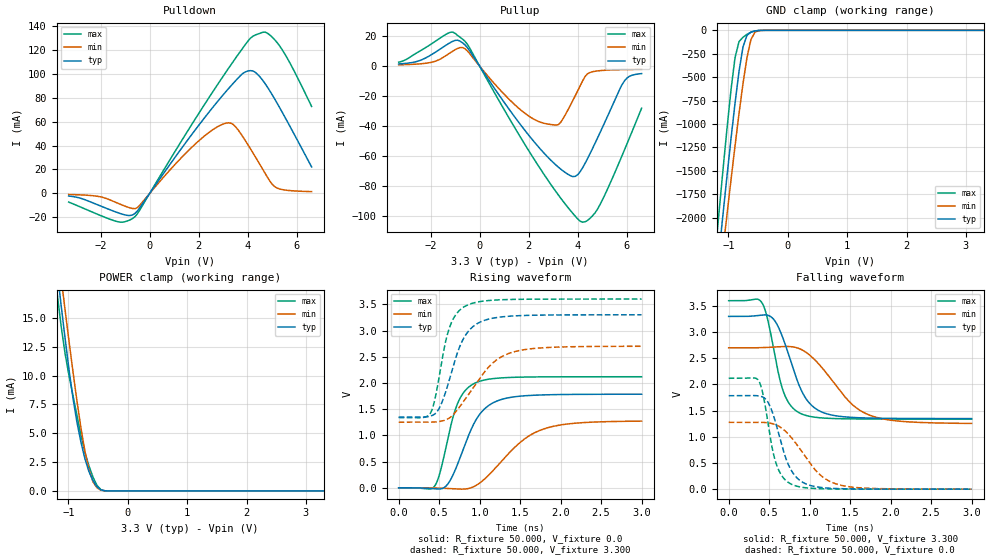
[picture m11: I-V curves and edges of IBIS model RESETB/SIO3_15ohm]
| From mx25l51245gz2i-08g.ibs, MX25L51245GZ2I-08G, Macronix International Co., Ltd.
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|   Model RESETB/SIO3_15ohm
[Model] RESETB/SIO3_15ohm
Model_type I/O
Vinl = 0.8
Vinh = 2.31
Vmeas = 1.65
Vref = 3.3
Cref = 30pF
Rref = 25000
Polarity   Non-Inverting
Enable   Active-High
C_comp   4.702pF   4.173pF   5.468pF
[Temperature Range]   25.000   85.000   -40.000
[Voltage Range]   3.300V   2.700V   3.600V
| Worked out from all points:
|   slope of the pulldown table from 0 to 0.495 V, typ, clamps not added: 33.9 ohm
|   slope of the pullup table from 0 to 0.495 V, typ, clamps not added: 40.7 ohm
|   GND clamp passes 1 mA (typ) near -0.46 V on its own axis
|   POWER clamp passes 1 mA (typ) near -0.60 V on its own axis
|   rising waveform, R_fixture 50.000, V_fixture 0.0: 20-80 % time 311ps typ, 519ps min, 220ps max; typ from 0 V to 1.78 V
|   rising waveform, R_fixture 50.000, V_fixture 3.300: 20-80 % time 264ps typ, 433ps min, 189ps max; typ from 1.35 V to 3.3 V
|   falling waveform, R_fixture 50.000, V_fixture 3.300: 20-80 % time 286ps typ, 483ps min, 199ps max; typ from 3.3 V to 1.35 V
|   falling waveform, R_fixture 50.000, V_fixture 0.0: 20-80 % time 225ps typ, 389ps min, 162ps max; typ from 1.78 V to 0 V
[Pulldown]
|Voltage   I(typ)   I(min)   I(max)
-3.3V     -2.153mA   -905uA     -7.193mA
-2.1V     -9.665mA   -2.465mA   -17.61mA
-1.3V     -16.07mA   -8.147mA   -23.63mA
-600mV    -16.74mA   -12.69mA   -19.45mA
1.6V      46.03mA    36.22mA    53.81mA
2.8V      77.59mA    56.11mA    91.96mA
3.4V      91.87mA    57.69mA    110mA
4.1V      102.6mA    37.56mA    129.6mA
4.7V      91.89mA    17mA       134.8mA
5.1V      78.74mA    5.631mA    128.3mA
5.7V      56.7mA     2.407mA    109.6mA
6.6V      22.13mA    1.523mA    72.66mA
[Pullup]
|Voltage   I(typ)   I(min)   I(max)
-3.3V     1.472mA    871.9uA    2.646mA
-2.4V     3.986mA    1.58mA     10.4mA
-1.2V     15.66mA    8.9mA      22.53mA
-700mV    15.57mA    12.4mA     18.07mA
1.4V      -33.18mA   -25.19mA   -40.13mA
2.6V      -57.49mA   -37.93mA   -71.51mA
3.3V      -68.5mA    -37.44mA   -87.81mA
3.8V      -73.56mA   -22.78mA   -98.08mA
4.2V      -67.54mA   -9.729mA   -103.9mA
4.8V      -47.97mA   -3.168mA   -95.28mA
5.8V      -12.41mA   -2.324mA   -59.71mA
6.6V      -4.941mA   -2.119mA   -27.99mA
[GND_clamp]
|Voltage   I(typ)   I(min)   I(max)
-3.3V     -16.23A    -15.29A    -17.38A
-1.223V   -2.783A    -3.091A    -2.392A
-1.156V   -2.364A    -2.709A    -1.929A
-1.089V   -1.951A    -2.331A    -1.475A
-1.022V   -1.545A    -1.957A    -1.037A
-888mV    -775.2mA   -1.232A    -290.6mA
-821mV    -436.7mA   -887.4mA   -119.8mA
-754mV    -176.6mA   -566.8mA   -73.99mA
-620mV    -18.94mA   -98.07mA   -19.97mA
-553mV    -6.72mA    -19.76mA   -6.453mA
-419mV    -212uA     -410.3uA   -100.3uA
3.3V      0A         0A         0A
[POWER_clamp]
|Voltage   I(typ)   I(min)   I(max)
-3.266V   120.5mA    115.3mA    127.3mA
-1.189V   19.07mA    21.32mA    17.11mA
-1.122V   16.07mA    18.46mA    14.27mA
-1.055V   13.17mA    15.66mA    11.87mA
-921mV    7.978mA    10.25mA    8.227mA
-854mV    5.896mA    7.725mA    6.492mA
-787mV    4.181mA    5.399mA    4.778mA
-720mV    2.755mA    3.383mA    3.317mA
-653mV    1.666mA    1.816mA    2.16mA
-586mV    894.9uA    791.3uA    1.195mA
-452mV    86.45uA    64.08uA    105.6uA
3.3V      0A         0A         0A
[Ramp]
| variable   typ   min   max
dV/dt_r   1.071/0.313n   0.763/0.520n   1.271/0.226n
dV/dt_f   1.171/0.292n   0.867/0.487n   1.357/0.202n
R_load = 50.000
[Rising Waveform]
R_fixture= 50.000
V_fixture= 0.0
V_fixture_min= 0.0
V_fixture_max= 0.0
|time   V(typ)   V(min)   V(max)
0s        1.091uV    1.086uV    1.047uV
446ps     -20.52mV   -4mV       36.29mV
506ps     -23.67mV   -6.78mV    266.4mV
588ps     38.07mV    -11.65mV   798.2mV
718ps     413.8mV    -22.71mV   1.571V
947ps     1.274V     37.42mV    2V
1.217ns   1.657V     415.1mV    2.09V
1.515ns   1.75V      884.4mV    2.111V
1.758ns   1.771V     1.103V     2.116V
3ns       1.785V     1.272V     2.118V
[Rising Waveform]
R_fixture= 50.000
V_fixture= 3.300
V_fixture_min= 2.700
V_fixture_max= 3.600
|time   V(typ)   V(min)   V(max)
0s        1.348V     1.251V     1.339V
396ps     1.369V     1.251V     1.431V
443ps     1.405V     1.254V     1.658V
508ps     1.538V     1.266V     2.186V
623ps     2.043V     1.327V     3.035V
738ps     2.629V     1.514V     3.364V
838ps     2.94V      1.726V     3.477V
1.138ns   3.227V     2.346V     3.575V
1.408ns   3.277V     2.587V     3.593V
3ns       3.3V       2.699V     3.6V
[Falling Waveform]
R_fixture= 50.000
V_fixture= 3.300
V_fixture_min= 2.700
V_fixture_max= 3.600
|time   V(typ)   V(min)   V(max)
0s        3.3V       2.7V       3.6V
410ps     3.325V     2.704V     3.563V
470ps     3.326V     2.708V     3.315V
546ps     3.261V     2.713V     2.761V
670ps     2.886V     2.724V     1.889V
886ps     1.926V     2.676V     1.448V
1.148ns   1.475V     2.328V     1.361V
1.488ns   1.374V     1.675V     1.343V
1.716ns   1.359V     1.429V     1.34V
3ns       1.348V     1.256V     1.339V
[Falling Waveform]
R_fixture= 50.000
V_fixture= 0.0
V_fixture_min= 0.0
V_fixture_max= 0.0
|time   V(typ)   V(min)   V(max)
0s        1.785V     1.277V     2.118V
371ps     1.781V     1.278V     2.07V
421ps     1.76V      1.276V     1.835V
486ps     1.66V      1.268V     1.256V
580ps     1.271V     1.232V     517.7mV
660ps     815.5mV    1.161V     247.3mV
778ps     346.5mV    978.7mV    92.27mV
1.106ns   39.34mV    307.8mV    10.72mV
1.347ns   11.62mV    90.74mV    3.334mV
3ns       285.2uV    404.7uV    399.5uV
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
